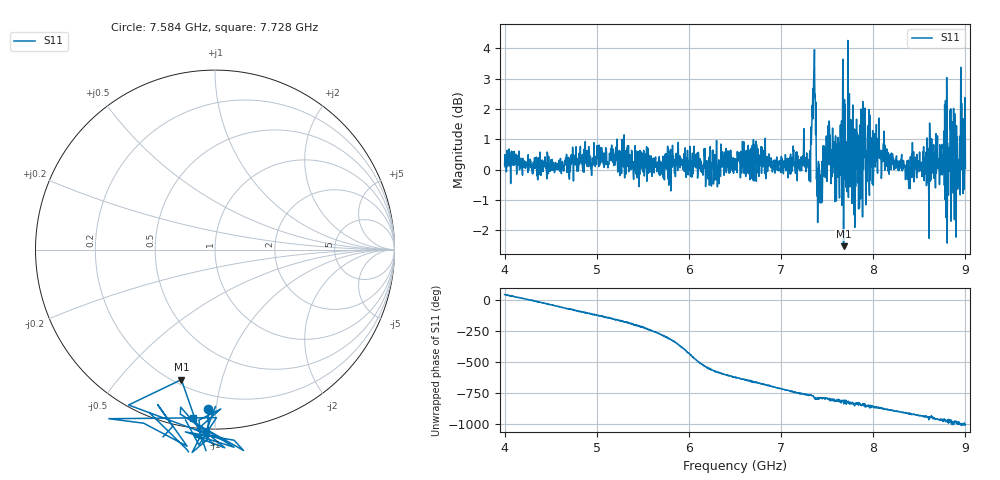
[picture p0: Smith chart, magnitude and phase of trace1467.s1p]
! Created with skrf 1.8.0 (http://scikit-rf.org).
# Hz S RI R 50.0
!freq ReS11 ImS11
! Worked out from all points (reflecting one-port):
!   1601 points, 4 GHz to 9 GHz, reference 50 ohm
!   lowest |S11| = -2.5 dB at 7.678 GHz (marker M1), VSWR 6.95, Z = 11.4 - j37.5 ohm
!   phase of S11 starts at 46 deg and turns -1052 deg over the sweep
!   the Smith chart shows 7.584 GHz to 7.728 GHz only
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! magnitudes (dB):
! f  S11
! 4 GHz  0.1
! 4.625 GHz  0.0
! 4.894 GHz  0.4
! 5.25 GHz  -0.2
! 5.875 GHz  0.5
! 6.5 GHz  0.4
! 7.125 GHz  0.4
! 7.294 GHz  0.1
! 7.316 GHz  0.2
! 7.353 GHz  2.9
! 7.369 GHz  2.5
! 7.409 GHz  -0.9
! 7.509 GHz  0.4
! 7.609 GHz  0.4
! 7.647 GHz  1.1
! 7.678 GHz  -2.5
! 7.75 GHz  0.8
! 7.784 GHz  -0.3
! 7.891 GHz  0.5
! 7.941 GHz  1.2
! 8.038 GHz  0.3
! 8.375 GHz  0.0
! 8.438 GHz  0.6
! 8.581 GHz  0.1
! 8.775 GHz  2.1
! 8.919 GHz  -0.5
! 8.972 GHz  1.0
! 9 GHz  0.0
